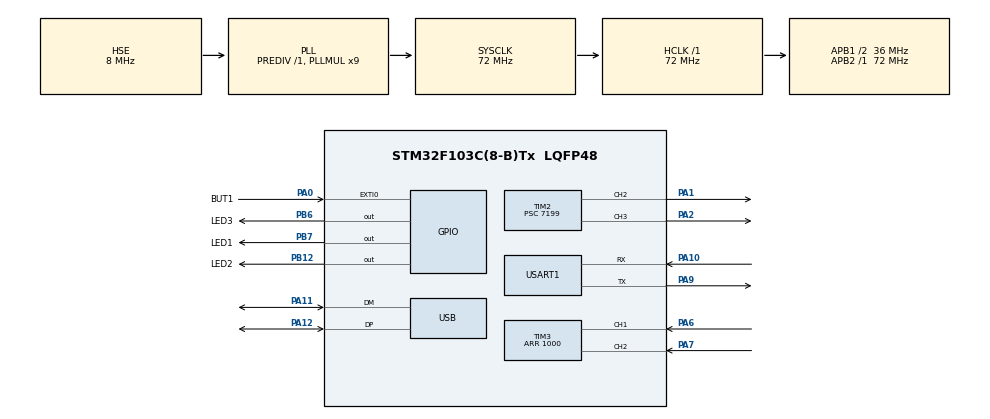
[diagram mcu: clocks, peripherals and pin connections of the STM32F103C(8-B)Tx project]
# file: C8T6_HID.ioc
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Mcu.Family=STM32F1
Mcu.Name=STM32F103C(8-B)Tx
Mcu.Package=LQFP48
NVIC.EXTI0_IRQn=true\:0\:0\:true\:false\:true\:true\:true
NVIC.PriorityGroup=NVIC_PRIORITYGROUP_2
NVIC.USB_LP_CAN1_RX0_IRQn=true\:0\:0\:false\:false\:true\:false\:true
PA0-WKUP.GPIO_Label=BUT1
PA0-WKUP.GPIO_PuPd=GPIO_PULLUP
PA0-WKUP.Signal=GPXTI0
PA1.Signal=S_TIM2_CH2
PA10.Mode=Asynchronous
PA10.Signal=USART1_RX
PA11.Mode=Device
PA11.Signal=USB_DM
PA12.Mode=Device
PA12.Signal=USB_DP
PA13.Mode=Serial_Wire
PA13.Signal=SYS_JTMS-SWDIO
PA14.Mode=Serial_Wire
PA14.Signal=SYS_JTCK-SWCLK
PA2.Signal=S_TIM2_CH3
PA6.Signal=S_TIM3_CH1
PA7.Signal=S_TIM3_CH2
PA9.Mode=Asynchronous
PA9.Signal=USART1_TX
PB12.GPIO_Label=LED2
PB12.Signal=GPIO_Output
PB6.GPIO_Label=LED3
PB6.Signal=GPIO_Output
PB7.GPIO_Label=LED1
PB7.Signal=GPIO_Output
PC14-OSC32_IN.Mode=LSE-External-Oscillator
PC14-OSC32_IN.Signal=RCC_OSC32_IN
PC15-OSC32_OUT.Mode=LSE-External-Oscillator
PC15-OSC32_OUT.Signal=RCC_OSC32_OUT
PD0-OSC_IN.Mode=HSE-External-Oscillator
PD0-OSC_IN.Signal=RCC_OSC_IN
PD1-OSC_OUT.Mode=HSE-External-Oscillator
PD1-OSC_OUT.Signal=RCC_OSC_OUT
ProjectManager.HeapSize=0x200
ProjectManager.StackSize=0x400
ProjectManager.TargetToolchain=MDK-ARM V5.27
RCC.ADCPresc=RCC_ADCPCLK2_DIV4
RCC.AHBFreq_Value=72000000
RCC.APB1CLKDivider=RCC_HCLK_DIV2
RCC.APB1Freq_Value=36000000
RCC.APB1TimFreq_Value=72000000
RCC.APB2Freq_Value=72000000
RCC.APB2TimFreq_Value=72000000
RCC.HCLKFreq_Value=72000000
RCC.PLLMUL=RCC_PLL_MUL9
RCC.SYSCLKFreq_VALUE=72000000
RCC.SYSCLKSource=RCC_SYSCLKSOURCE_PLLCLK
RCC.USBFreq_Value=48000000
RCC.USBPrescaler=RCC_USBCLKSOURCE_PLL_DIV1_5
SH.S_TIM2_CH2.0=TIM2_CH2,PWM Generation2 CH2
SH.S_TIM2_CH3.0=TIM2_CH3,PWM Generation3 CH3
SH.S_TIM3_CH1.0=TIM3_CH1,Encoder_Interface
SH.S_TIM3_CH2.0=TIM3_CH2,Encoder_Interface
TIM2.Channel-PWM\ Generation2\ CH2=TIM_CHANNEL_2
TIM2.Channel-PWM\ Generation3\ CH3=TIM_CHANNEL_3
TIM2.Period=99
TIM2.Prescaler=7199
TIM2.Pulse-PWM\ Generation2\ CH2=50
TIM2.Pulse-PWM\ Generation3\ CH3=50
TIM3.AutoReloadPreload=TIM_AUTORELOAD_PRELOAD_ENABLE
TIM3.IC1Filter=15
TIM3.IC2Filter=15
TIM3.Period=1000
USART1.VirtualMode=VM_ASYNC
USB_DEVICE.CLASS_NAME_FS=HID
USB_DEVICE.HID_FS_BINTERVAL=1
USB_DEVICE.PID_HID_FS=0x5dc
USB_DEVICE.PRODUCT_STRING_HID_FS=STMduozhouCTRL
USB_DEVICE.VID=0x666
USB_DEVICE.VirtualMode=Hid
USB_DEVICE.VirtualModeFS=Hid_FS
VP_USB_DEVICE_VS_USB_DEVICE_HID_FS.Mode=HID_FS
board=custom

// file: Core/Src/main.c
/* USER CODE BEGIN Header */
/**
  ******************************************************************************
  * @file           : main.c
  * @brief          : Main program body
  ******************************************************************************
  * @attention
  *
  * <h2><center>&copy; Copyright (c) 2021 STMicroelectronics.
  * All rights reserved.</center></h2>
  *
  * This software component is licensed by ST under BSD 3-Clause license,
  * the "License"; You may not use this file except in compliance with the
  * License. You may obtain a copy of the License at:
  *                        opensource.org/licenses/BSD-3-Clause
  *
  ******************************************************************************
  */
/* USER CODE END Header */
#include "main.h"
#include "tim.h"
#include "usart.h"
#include "usb_device.h"
#include "gpio.h"

/* USER CODE BEGIN Includes */
#include "usbd_hid.h"
/* USER CODE END Includes */

/* USER CODE BEGIN PV */
uint16_t enc_last,enc_now;
uint8_t enc_cw = 2;
uint8_t HID_Buffer[3]={0x00};
uint8_t press_flag=0x00;
uint8_t but = 0;
extern USBD_HandleTypeDef hUsbDeviceFS;
/* USER CODE END PV */

void SystemClock_Config(void);

int main(void)
{

  /* MCU Configuration--------------------------------------------------------*/

  /* Reset of all peripherals, Initializes the Flash interface and the Systick. */
  HAL_Init();

  /* Configure the system clock */
  SystemClock_Config();

  /* Initialize all configured peripherals */
  MX_GPIO_Init();
  MX_USB_DEVICE_Init();
  MX_TIM3_Init();
  MX_USART1_UART_Init();
  MX_TIM2_Init();
  /* USER CODE BEGIN 2 */
  HAL_TIM_PWM_Start(&htim2,TIM_CHANNEL_2);
  HAL_TIM_PWM_Start(&htim2,TIM_CHANNEL_3);
  HAL_GPIO_TogglePin(GPIOB, LED2_Pin|LED3_Pin|LED1_Pin);
  HAL_Delay(500);
  HAL_GPIO_TogglePin(GPIOB, LED2_Pin|LED3_Pin|LED1_Pin);
  HAL_TIM_PWM_Stop(&htim2,TIM_CHANNEL_2);
  HAL_TIM_PWM_Stop(&htim2,TIM_CHANNEL_3);
  HAL_TIM_Encoder_Start(&htim3, TIM_CHANNEL_ALL);
  /* USER CODE END 2 */

  /* Infinite loop */
  /* USER CODE BEGIN WHILE */
  while (1)
  {
    enc_now= (uint32_t)(__HAL_TIM_GET_COUNTER(&htim3));
		if( enc_last != enc_now )
     {
			enc_cw = __HAL_TIM_IS_TIM_COUNTING_DOWN(&htim3);
     }
		else
     {
			enc_cw = 2;
     }
		enc_last = enc_now;

		if( enc_cw == 1 && press_flag == 0x00 )
		{
			HID_Buffer[0] = 0x0A;
			HID_Buffer[1] = 0x3C;
			HID_Buffer[2] = 0x00;
			USBD_HID_SendReport(&hUsbDeviceFS, (uint8_t*)HID_Buffer, 3);
			HAL_GPIO_WritePin(LED2_GPIO_Port, LED2_Pin, GPIO_PIN_SET);
			HAL_Delay(1);
			HAL_GPIO_WritePin(LED2_GPIO_Port, LED2_Pin, GPIO_PIN_RESET);
		}
		else if( enc_cw == 0 && press_flag == 0x00 )
		{
			HID_Buffer[0] = 0x0A;
			HID_Buffer[1] = 0xC4;
			HID_Buffer[2] = 0xFF;
			USBD_HID_SendReport(&hUsbDeviceFS, (uint8_t*)HID_Buffer, 3);
			HAL_GPIO_WritePin(LED3_GPIO_Port, LED3_Pin, GPIO_PIN_SET);
			HAL_Delay(1);
			HAL_GPIO_WritePin(LED3_GPIO_Port, LED3_Pin, GPIO_PIN_RESET);
		}
		if( but==1 &&press_flag == 0x00 )
		{
        HID_Buffer[0] = 0x0A;
        HID_Buffer[1] = 0x01;
        HID_Buffer[2] = 0x00;
        USBD_HID_SendReport(&hUsbDeviceFS, (uint8_t*)HID_Buffer, 3);
        press_flag = 0xff;
        but=0;

//        HAL_TIM_PWM_Start(&htim2,TIM_CHANNEL_2);
//        HAL_TIM_PWM_Start(&htim2,TIM_CHANNEL_3);
//        HAL_Delay(2);
//        HAL_TIM_PWM_Stop(&htim2,TIM_CHANNEL_2);
//        HAL_TIM_PWM_Stop(&htim2,TIM_CHANNEL_3);

		}
		else if( but==0 && press_flag == 0xff )
		{
        HID_Buffer[0] = 0x0A;
        HID_Buffer[1] = 0x00;
        HID_Buffer[2] = 0x00;
        USBD_HID_SendReport(&hUsbDeviceFS, (uint8_t*)HID_Buffer, 3);
        press_flag = 0x00;
		}
    /* USER CODE END WHILE */

  }
}

void SystemClock_Config(void)
{
  RCC_OscInitTypeDef RCC_OscInitStruct = {0};
  RCC_ClkInitTypeDef RCC_ClkInitStruct = {0};
  RCC_PeriphCLKInitTypeDef PeriphClkInit = {0};

  /** Initializes the RCC Oscillators according to the specified parameters
  * in the RCC_OscInitTypeDef structure.
  */
  RCC_OscInitStruct.OscillatorType = RCC_OSCILLATORTYPE_HSE;
  RCC_OscInitStruct.HSEState = RCC_HSE_ON;
  RCC_OscInitStruct.HSEPredivValue = RCC_HSE_PREDIV_DIV1;
  RCC_OscInitStruct.HSIState = RCC_HSI_ON;
  RCC_OscInitStruct.PLL.PLLState = RCC_PLL_ON;
  RCC_OscInitStruct.PLL.PLLSource = RCC_PLLSOURCE_HSE;
  RCC_OscInitStruct.PLL.PLLMUL = RCC_PLL_MUL9;
  if (HAL_RCC_OscConfig(&RCC_OscInitStruct) != HAL_OK)
  {
    Error_Handler();
  }
  /** Initializes the CPU, AHB and APB buses clocks
  */
  RCC_ClkInitStruct.ClockType = RCC_CLOCKTYPE_HCLK|RCC_CLOCKTYPE_SYSCLK
                              |RCC_CLOCKTYPE_PCLK1|RCC_CLOCKTYPE_PCLK2;
  RCC_ClkInitStruct.SYSCLKSource = RCC_SYSCLKSOURCE_PLLCLK;
  RCC_ClkInitStruct.AHBCLKDivider = RCC_SYSCLK_DIV1;
  RCC_ClkInitStruct.APB1CLKDivider = RCC_HCLK_DIV2;
  RCC_ClkInitStruct.APB2CLKDivider = RCC_HCLK_DIV1;

  if (HAL_RCC_ClockConfig(&RCC_ClkInitStruct, FLASH_LATENCY_2) != HAL_OK)
  {
    Error_Handler();
  }
  PeriphClkInit.PeriphClockSelection = RCC_PERIPHCLK_USB;
  PeriphClkInit.UsbClockSelection = RCC_USBCLKSOURCE_PLL_DIV1_5;
  if (HAL_RCCEx_PeriphCLKConfig(&PeriphClkInit) != HAL_OK)
  {
    Error_Handler();
  }
}

/* USER CODE BEGIN 4 */
void HAL_GPIO_EXTI_Callback(uint16_t GPIO_Pin)
{
   if(GPIO_Pin==BUT1_Pin)
  {
      but=1;
      HAL_GPIO_TogglePin(LED1_GPIO_Port, LED1_Pin);
  }

}

/* USER CODE END 4 */

void Error_Handler(void)
{
  __disable_irq();
  while (1)
  {
  }
}

/************************ (C) COPYRIGHT STMicroelectronics *****END OF FILE****/
